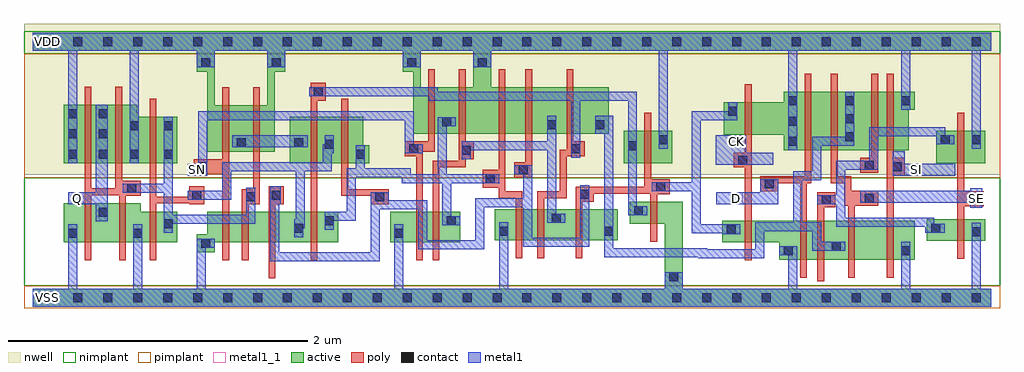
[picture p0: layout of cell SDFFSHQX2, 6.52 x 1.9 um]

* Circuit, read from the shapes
.subckt SDFFSHQX2 CK D Q SE SI SN VDD VSS
M1 Q n1 VSS VSS nfet w=0.26u l=0.045u m=2
M2 n1 n2 VSS VSS nfet w=0.205u l=0.045u
M3 n3 SN VSS VSS nfet w=0.205u l=0.045u
M4 n4 n1 n3 VSS nfet w=0.205u l=0.045u
M5 n2 n5 n4 VSS nfet w=0.205u l=0.045u
M6 n6 n7 n2 VSS nfet w=0.205u l=0.045u
M7 n8 SN VSS VSS nfet w=0.205u l=0.045u
M8 n6 n9 n8 VSS nfet w=0.205u l=0.045u
M9 n10 n6 VSS VSS nfet w=0.205u l=0.045u
M10 n9 n7 n10 VSS nfet w=0.205u l=0.045u
M11 n11 n5 n9 VSS nfet w=0.205u l=0.045u
M12 VSS n5 n7 VSS nfet w=0.145u l=0.045u
M13 VSS CK n5 VSS nfet w=0.145u l=0.045u
M14 n12 D VSS VSS nfet w=0.26u l=0.045u
M15 n11 n13 n12 VSS nfet w=0.26u l=0.045u
M16 n14 SE n11 VSS nfet w=0.26u l=0.045u
M17 VSS SI n14 VSS nfet w=0.26u l=0.045u
M18 VSS SE n13 VSS nfet w=0.145u l=0.045u
M19 Q n1 VDD VDD pfet w=0.39u l=0.045u m=2
M20 n1 n2 VDD VDD pfet w=0.31u l=0.045u
M21 n15 SN VDD VDD pfet w=0.31u l=0.045u
M22 VDD n1 n15 VDD pfet w=0.31u l=0.045u
M23 n2 n7 n15 VDD pfet w=0.31u l=0.045u
M24 n6 n5 n2 VDD pfet w=0.31u l=0.045u
M25 n6 SN VDD VDD pfet w=0.31u l=0.045u
M26 VDD n9 n6 VDD pfet w=0.31u l=0.045u
M27 n16 n6 VDD VDD pfet w=0.31u l=0.045u
M28 n9 n5 n16 VDD pfet w=0.31u l=0.045u
M29 n11 n7 n9 VDD pfet w=0.31u l=0.045u
M30 VDD n5 n7 VDD pfet w=0.215u l=0.045u
M31 VDD CK n5 VDD pfet w=0.215u l=0.045u
M32 n17 D VDD VDD pfet w=0.39u l=0.045u
M33 n11 SE n17 VDD pfet w=0.39u l=0.045u
M34 n18 n13 n11 VDD pfet w=0.39u l=0.045u
M35 VDD SI n18 VDD pfet w=0.39u l=0.045u
M36 VDD SE n13 VDD pfet w=0.215u l=0.045u
.ends

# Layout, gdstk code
import gdstk
lib = gdstk.Library(unit=1e-6, precision=5e-10)
def R(c, l, rs):  # rectangles x0, y0, x1, y1
    for r in rs: c.add(gdstk.rectangle(r[:2], r[2:], *l))
def A(c, l, x, y, w, h, nx, ny, dx, dy):  # array of equal rectangles
    R(c, l, [(x+i*dx, y+j*dy, x+i*dx+w, y+j*dy+h) for i in range(nx) for j in range(ny)])
def P(c, l, *ps):  # polygons
    for p in ps: c.add(gdstk.Polygon(p, *l))
active = (1, 0)
nwell = (2, 0)
poly = (3, 0)
nimplant = (4, 0)
pimplant = (5, 0)
contact = (6, 0)
metal1 = (7, 0)
metal1_1 = (7, 1)

sdffshqx2 = lib.new_cell('SDFFSHQX2')
R(sdffshqx2, active, [(2.385,0.37,2.855,0.575), (5.97,0.38,6.36,0.525), (3.085,0.385,3.905,0.59), (3.945,0.9,4.27,1.115), (6.035,0.9,6.36,1.115)])
P(sdffshqx2, active, [(0,1.77),(6.4,1.77),(6.4,1.65),(3.06,1.65),(3.06,1.405),(3.845,1.405),(3.845,1.095),(2.54,1.095),(2.54,1.51),(2.47,1.51),(2.47,1.65),(2.59,1.65),(2.59,1.405),(2.94,1.405),(2.94,1.65),(1.685,1.65),(1.685,1.51),(1.615,1.51),(1.615,0.975),(1.165,0.975),(1.165,1.51),(1.095,1.51),(1.095,1.65),(1.215,1.65),(1.215,1.285),(1.565,1.285),(1.565,1.65),(0,1.65)],
  [(0.205,1.29),(0.695,1.29),(0.695,1.21),(0.965,1.21),(0.965,0.9),(0.205,0.9)],
  [(1.715,1.21),(2.205,1.21),(2.205,1.02),(2.245,1.02),(2.245,0.9),(1.715,0.9)],
  [(5.015,1.375),(5.89,1.375),(5.89,1.255),(5.85,1.255),(5.85,0.985),(5.015,0.985),(5.015,1.09),(4.615,1.09),(4.615,1.305),(5.015,1.305)],
  [(0.205,0.63),(0.72,0.63),(0.72,0.575),(0.965,0.575),(0.965,0.37),(0.205,0.37)],
  [(1.165,0.575),(2.04,0.575),(2.04,0.37),(1.215,0.37),(1.215,0.305),(1.095,0.305),(1.095,0.425),(1.165,0.425)],
  [(3.985,0.64),(4.34,0.64),(4.34,0.06),(6.4,0.06),(6.4,-0.06),(0,-0.06),(0,0.06),(4.22,0.06),(4.22,0.495),(3.985,0.495)],
  [(4.605,0.515),(5.89,0.515),(5.89,0.255),(4.985,0.255),(4.985,0.37),(4.605,0.37)])
R(sdffshqx2, nwell, [(-0.06,0.82,6.46,1.83)])
P(sdffshqx2, poly, [(1.265,1.405),(1.31,1.405),(1.31,0.25),(1.265,0.25),(1.265,0.825),(1.075,0.825),(1.075,0.925),(1.265,0.925)],
  [(1.47,1.405),(1.515,1.405),(1.515,0.625),(1.44,0.625),(1.44,0.25),(1.395,0.25),(1.395,0.725),(1.47,0.725)],
  [(0.345,1.41),(0.39,1.41),(0.39,0.73),(0.55,0.73),(0.55,1.41),(0.595,1.41),(0.595,0.78),(0.72,0.78),(0.72,0.68),(0.62,0.68),(0.62,0.25),(0.575,0.25),(0.575,0.685),(0.39,0.685),(0.39,0.25),(0.345,0.25)],
  [(0.78,1.33),(0.825,1.33),(0.825,0.675),(1.045,0.675),(1.045,0.745),(1.145,0.745),(1.145,0.625),(1.045,0.625),(1.045,0.63),(0.825,0.63),(0.825,0.25),(0.78,0.25)],
  [(1.855,1.435),(1.955,1.435),(1.955,1.315),(1.9,1.315),(1.9,0.25),(1.855,0.25)],
  [(2.64,1.525),(2.685,1.525),(2.685,0.975),(2.605,0.975),(2.605,0.25),(2.56,0.25),(2.56,0.945),(2.485,0.945),(2.485,1.045),(2.64,1.045)],
  [(2.845,1.525),(2.89,1.525),(2.89,1.045),(2.945,1.045),(2.945,0.925),(2.89,0.925),(2.89,0.87),(2.715,0.87),(2.715,0.25),(2.67,0.25),(2.67,0.915),(2.845,0.915)],
  [(3.11,1.525),(3.155,1.525),(3.155,0.71),(3.27,0.71),(3.27,0.265),(3.225,0.265),(3.225,0.665),(3.11,0.665),(3.11,0.735),(3.005,0.735),(3.005,0.855),(3.11,0.855)],
  [(3.29,1.525),(3.335,1.525),(3.335,0.805),(3.215,0.805),(3.215,0.905),(3.29,0.905)],
  [(3.565,1.525),(3.61,1.525),(3.61,1.045),(3.685,1.045),(3.685,0.945),(3.565,0.945),(3.565,0.665),(3.415,0.665),(3.415,0.265),(3.37,0.265),(3.37,0.71),(3.52,0.71),(3.52,0.99),(3.565,0.99)],
  [(5.155,1.495),(5.2,1.495),(5.2,0.765),(5.17,0.765),(5.17,0.135),(5.125,0.135),(5.125,0.765),(4.98,0.765),(4.98,0.71),(4.86,0.71),(4.86,0.81),(5.155,0.81)],
  [(5.33,1.495),(5.375,1.495),(5.375,0.81),(5.465,0.81),(5.465,0.715),(5.645,0.715),(5.645,0.615),(5.49,0.615),(5.49,0.135),(5.445,0.135),(5.445,0.615),(5.42,0.615),(5.42,0.765),(5.33,0.765)],
  [(5.6,1.495),(5.645,1.495),(5.645,0.835),(5.525,0.835),(5.525,0.935),(5.6,0.935)],
  [(5.705,1.495),(5.75,1.495),(5.75,0.935),(5.825,0.935),(5.825,0.815),(5.75,0.815),(5.75,0.135),(5.705,0.135)],
  [(2.06,1.33),(2.105,1.33),(2.105,0.725),(2.375,0.725),(2.375,0.625),(2.255,0.625),(2.255,0.68),(2.06,0.68)],
  [(4.755,1.425),(4.8,1.425),(4.8,0.25),(4.755,0.25),(4.755,0.87),(4.68,0.87),(4.68,0.97),(4.755,0.97)],
  [(4.085,1.235),(4.13,1.235),(4.13,0.79),(4.255,0.79),(4.255,0.69),(4.17,0.69),(4.17,0.375),(4.125,0.375),(4.125,0.695),(3.745,0.695),(3.745,0.64),(3.67,0.64),(3.67,0.265),(3.625,0.265),(3.625,0.74),(4.085,0.74)],
  [(6.175,1.235),(6.22,1.235),(6.22,0.71),(6.35,0.71),(6.35,0.61),(6.22,0.61),(6.22,0.26),(6.175,0.26)],
  [(1.575,0.745),(1.675,0.745),(1.675,0.625),(1.62,0.625),(1.62,0.13),(1.575,0.13)],
  [(5.24,0.705),(5.36,0.705),(5.36,0.605),(5.285,0.605),(5.285,0.11),(5.24,0.11)])
R(sdffshqx2, nimplant, [(-0.06,0.08,6.46,0.8), (-0.06,1.63,6.46,1.78)])
R(sdffshqx2, pimplant, [(-0.06,-0.07,6.46,0.08), (-0.06,0.8,6.46,1.63)])
A(sdffshqx2, contact, 0.07, -0.03, 0.06, 0.06, 32, 2, 0.2, 1.71)
A(sdffshqx2, contact, 0.235, 0.93, 0.06, 0.06, 3, 1, 0.205, 0)
A(sdffshqx2, contact, 5.045, 1.015, 0.06, 0.06, 1, 3, 0, 0.135)
A(sdffshqx2, contact, 5.425, 1.045, 0.06, 0.06, 1, 3, 0, 0.12)
R(sdffshqx2, contact, [(4.25,0.11,4.31,0.17), (5.015,0.285,5.075,0.345), (5.8,0.285,5.86,0.345), (5.335,0.315,5.395,0.375), (1.125,0.335,1.185,0.395), (0.235,0.4,0.295,0.46), (0.67,0.4,0.73,0.46), (2.415,0.4,2.475,0.46), (6.27,0.41,6.33,0.47), (3.115,0.415,3.175,0.475), (3.815,0.415,3.875,0.475), (4.635,0.425,4.695,0.485), (1.745,0.435,1.805,0.495), (6,0.435,6.06,0.495), (0.875,0.465,0.935,0.525), (1.95,0.485,2.01,0.545), (2.765,0.485,2.825,0.545), (3.465,0.5,3.525,0.56), (0.44,0.54,0.5,0.6), (4.015,0.55,4.075,0.61), (5.27,0.625,5.33,0.685), (6.26,0.63,6.32,0.69), (5.555,0.635,5.615,0.695), (1.425,0.645,1.485,0.705), (2.285,0.645,2.345,0.705), (1.065,0.655,1.125,0.715), (1.595,0.655,1.655,0.715), (3.655,0.66,3.715,0.72), (0.63,0.7,0.69,0.76), (4.165,0.71,4.225,0.77), (4.89,0.73,4.95,0.79), (3.025,0.765,3.085,0.825), (3.245,0.825,3.305,0.885), (1.105,0.845,1.165,0.905), (5.745,0.845,5.805,0.905), (5.555,0.855,5.615,0.915), (4.71,0.89,4.77,0.95), (0.875,0.93,0.935,0.99), (2.155,0.93,2.215,0.99), (2.865,0.955,2.925,1.015), (2.515,0.965,2.575,1.025), (3.595,0.965,3.655,1.025), (3.975,0.985,4.035,1.045), (1.95,0.995,2.01,1.055), (1.36,1.005,1.42,1.065), (1.745,1.005,1.805,1.065), (4.18,1.025,4.24,1.085), (6.065,1.025,6.125,1.085), (6.27,1.025,6.33,1.085), (0.235,1.065,0.295,1.125), (0.44,1.065,0.5,1.125), (0.645,1.12,0.705,1.18), (0.875,1.12,0.935,1.18), (3.435,1.125,3.495,1.185), (3.755,1.125,3.815,1.185), (2.735,1.145,2.795,1.205), (0.235,1.2,0.295,1.26), (0.44,1.2,0.5,1.26), (4.645,1.215,4.705,1.275), (5.8,1.285,5.86,1.345), (1.875,1.345,1.935,1.405), (1.125,1.54,1.185,1.6), (1.595,1.54,1.655,1.6), (2.5,1.54,2.56,1.6), (2.97,1.54,3.03,1.6)])
R(sdffshqx2, metal1, [(1.33,1.005,1.835,1.085)])
P(sdffshqx2, metal1, [(0,1.77),(6.4,1.77),(6.4,1.65),(6.33,1.65),(6.33,0.995),(6.27,0.995),(6.27,1.65),(5.86,1.65),(5.86,1.255),(5.8,1.255),(5.8,1.65),(5.105,1.65),(5.105,0.985),(5.045,0.985),(5.045,1.65),(4.24,1.65),(4.24,0.995),(4.18,0.995),(4.18,1.65),(3.06,1.65),(3.06,1.54),(2.94,1.54),(2.94,1.65),(2.59,1.65),(2.59,1.54),(2.47,1.54),(2.47,1.65),(1.685,1.65),(1.685,1.54),(1.565,1.54),(1.565,1.65),(1.215,1.65),(1.215,1.54),(1.095,1.54),(1.095,1.65),(0.705,1.65),(0.705,0.9),(0.645,0.9),(0.645,1.65),(0.295,1.65),(0.295,0.9),(0.235,0.9),(0.235,1.65),(0,1.65)],
  [(0.42,1.29),(0.5,1.29),(0.5,0.51),(0.42,0.51),(0.42,0.625),(0.235,0.625),(0.235,0.705),(0.42,0.705)],
  [(1.845,1.405),(2.705,1.405),(2.705,1.375),(4.035,1.375),(4.035,0.61),(4.105,0.61),(4.105,0.55),(3.975,0.55),(3.975,1.315),(3.655,1.315),(3.655,0.935),(3.595,0.935),(3.595,1.315),(2.645,1.315),(2.645,1.345),(1.845,1.345)],
  [(1.105,1.245),(2.545,1.245),(2.545,1.025),(2.605,1.025),(2.605,0.965),(2.485,0.965),(2.485,1.185),(1.165,1.185),(1.165,0.815),(1.035,0.815),(1.035,0.895),(1.105,0.895)],
  [(0.875,1.21),(0.935,1.21),(0.935,0.555),(1.425,0.555),(1.425,0.735),(1.485,0.735),(1.485,0.495),(0.935,0.495),(0.935,0.435),(0.875,0.435),(0.875,0.7),(0.6,0.7),(0.6,0.76),(0.875,0.76)],
  [(3.435,1.215),(3.495,1.215),(3.495,0.56),(3.555,0.56),(3.555,0.5),(3.435,0.5),(3.435,0.985),(2.925,0.985),(2.925,0.925),(2.865,0.925),(2.865,1.045),(3.435,1.045)],
  [(1.95,1.085),(2.01,1.085),(2.01,0.965),(1.995,0.965),(1.995,0.845),(1.815,0.845),(1.815,0.465),(1.805,0.465),(1.805,0.405),(1.745,0.405),(1.745,0.525),(1.755,0.525),(1.755,0.845),(1.325,0.845),(1.325,0.655),(1.035,0.655),(1.035,0.715),(1.265,0.715),(1.265,0.905),(1.935,0.905),(1.935,1.025),(1.95,1.025)],
  [(2.705,1.205),(2.825,1.205),(2.825,1.145),(2.765,1.145),(2.765,0.825),(3.115,0.825),(3.115,0.765),(2.795,0.765),(2.795,0.545),(2.855,0.545),(2.855,0.485),(2.735,0.485),(2.735,0.765),(2.465,0.765),(2.465,0.805),(2.155,0.805),(2.155,0.515),(2.01,0.515),(2.01,0.455),(1.95,0.455),(1.95,0.575),(2.095,0.575),(2.095,0.865),(2.155,0.865),(2.155,1.02),(2.215,1.02),(2.215,0.865),(2.525,0.865),(2.525,0.825),(2.705,0.825)],
  [(0.235,0.49),(0.295,0.49),(0.295,0.06),(0.67,0.06),(0.67,0.49),(0.73,0.49),(0.73,0.06),(1.095,0.06),(1.095,0.395),(1.215,0.395),(1.215,0.335),(1.155,0.335),(1.155,0.06),(2.415,0.06),(2.415,0.49),(2.475,0.49),(2.475,0.06),(3.115,0.06),(3.115,0.505),(3.175,0.505),(3.175,0.06),(4.22,0.06),(4.22,0.17),(4.34,0.17),(4.34,0.06),(5.045,0.06),(5.045,0.285),(4.985,0.285),(4.985,0.345),(5.105,0.345),(5.105,0.06),(5.8,0.06),(5.8,0.375),(5.86,0.375),(5.86,0.06),(6.27,0.06),(6.27,0.5),(6.33,0.5),(6.33,0.06),(6.4,0.06),(6.4,-0.06),(0,-0.06),(0,0.06),(0.235,0.06)],
  [(3.215,0.885),(3.335,0.885),(3.335,0.4),(3.655,0.4),(3.655,0.75),(3.715,0.75),(3.715,0.34),(3.275,0.34),(3.275,0.605),(3.015,0.605),(3.015,0.325),(2.575,0.325),(2.575,0.59),(2.315,0.59),(2.315,0.245),(1.585,0.245),(1.585,0.745),(1.655,0.745),(1.655,0.625),(1.645,0.625),(1.645,0.305),(2.255,0.305),(2.255,0.705),(2.375,0.705),(2.375,0.65),(2.635,0.65),(2.635,0.385),(2.955,0.385),(2.955,0.665),(3.275,0.665),(3.275,0.825),(3.215,0.825)],
  [(3.755,1.215),(3.875,1.215),(3.875,0.33),(4.505,0.33),(4.505,0.325),(4.825,0.325),(4.825,0.505),(5.08,0.505),(5.08,0.845),(5.205,0.845),(5.205,1.075),(5.425,1.075),(5.425,1.375),(5.485,1.375),(5.485,1.015),(5.265,1.015),(5.265,0.785),(5.14,0.785),(5.14,0.505),(5.265,0.505),(5.265,0.375),(5.425,0.375),(5.425,0.315),(5.205,0.315),(5.205,0.445),(4.885,0.445),(4.885,0.265),(4.445,0.265),(4.445,0.27),(3.815,0.27),(3.815,1.095),(3.755,1.095)],
  [(4.645,1.305),(4.705,1.305),(4.705,1.185),(4.46,1.185),(4.46,0.49),(4.725,0.49),(4.725,0.425),(4.605,0.425),(4.605,0.43),(4.4,0.43),(4.4,0.71),(4.135,0.71),(4.135,0.77),(4.4,0.77),(4.4,1.245),(4.645,1.245)],
  [(4.56,1.085),(4.765,1.085),(4.765,0.97),(4.945,0.97),(4.945,0.89),(4.56,0.89)],
  [(5.585,1.14),(6.095,1.14),(6.095,1.085),(6.155,1.085),(6.155,1.025),(6.035,1.025),(6.035,1.08),(5.645,1.08),(5.645,0.855),(5.425,0.855),(5.425,0.535),(6.02,0.535),(6.02,0.495),(6.09,0.495),(6.09,0.435),(5.96,0.435),(5.96,0.475),(5.365,0.475),(5.365,0.625),(5.24,0.625),(5.24,0.685),(5.365,0.685),(5.365,0.915),(5.585,0.915)],
  [(4.86,0.79),(4.98,0.79),(4.98,0.625),(4.565,0.625),(4.565,0.705),(4.86,0.705)],
  [(5.745,0.98),(5.825,0.98),(5.825,0.895),(6.16,0.895),(6.16,0.815),(5.745,0.815)],
  [(6.26,0.73),(6.34,0.73),(6.34,0.6),(6.26,0.6),(6.26,0.635),(5.525,0.635),(5.525,0.715),(6.26,0.715)])
R(sdffshqx2, metal1_1, [(0.06,-0.04,0.14,0.04), (0.26,0.625,0.34,0.705), (4.66,0.625,4.74,0.705), (6.26,0.625,6.34,0.705), (1.06,0.815,1.14,0.895), (5.86,0.815,5.94,0.895), (4.66,1.005,4.74,1.085), (0.06,1.67,0.14,1.75)])
sdffshqx2.add(gdstk.Label('Q', (0.3,0.665), layer=7, texttype=1))
sdffshqx2.add(gdstk.Label('SE', (6.3,0.665), layer=7, texttype=1))
sdffshqx2.add(gdstk.Label('SI', (5.9,0.855), layer=7, texttype=1))
sdffshqx2.add(gdstk.Label('D', (4.7,0.665), layer=7, texttype=1))
sdffshqx2.add(gdstk.Label('CK', (4.7,1.045), layer=7, texttype=1))
sdffshqx2.add(gdstk.Label('SN', (1.1,0.855), layer=7, texttype=1))
sdffshqx2.add(gdstk.Label('VDD', (0.1,1.71), layer=7, texttype=1))
sdffshqx2.add(gdstk.Label('VSS', (0.1,0), layer=7, texttype=1))
sdffshqx2.add(gdstk.Label('SDFFSHQX2', (0,0), layer=63, texttype=0))

lib.write_gds('SDFFSHQX2.gds')
